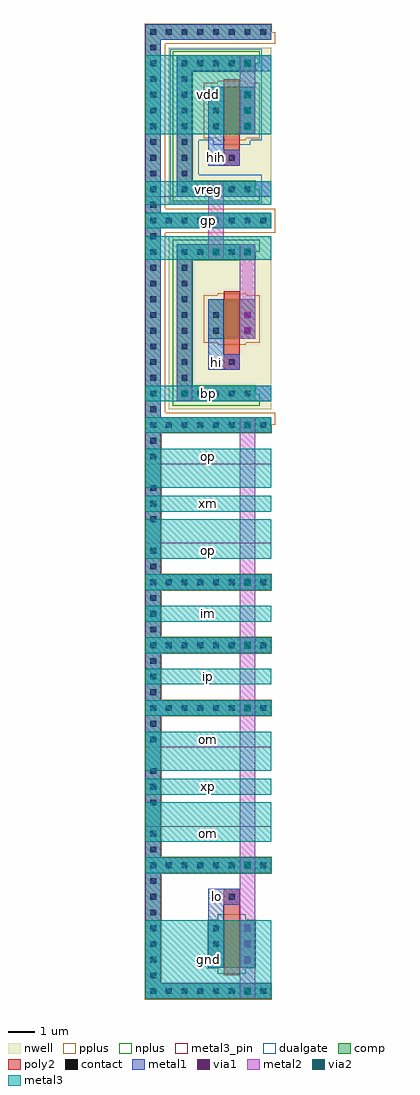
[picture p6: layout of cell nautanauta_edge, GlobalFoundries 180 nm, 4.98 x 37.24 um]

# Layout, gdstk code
import gdstk
lib = gdstk.Library(unit=1e-6, precision=1e-09)
def R(c, l, rs):  # rectangles x0, y0, x1, y1
    for r in rs: c.add(gdstk.rectangle(r[:2], r[2:], *l))
def A(c, l, x, y, w, h, nx, ny, dx, dy):  # array of equal rectangles
    R(c, l, [(x+i*dx, y+j*dy, x+i*dx+w, y+j*dy+h) for i in range(nx) for j in range(ny)])
nwell = (21, 0)
comp = (22, 0)
poly2 = (30, 0)
pplus = (31, 0)
nplus = (32, 0)
contact = (33, 0)
metal1 = (34, 0)
via1 = (35, 0)
metal2 = (36, 0)
via2 = (38, 0)
metal3 = (42, 0)
metal3_pin = (42, 10)
dualgate = (55, 0)

nautanauta_edge = lib.new_cell('nautanauta_edge')
R(nautanauta_edge, nwell, [(-36.9,15.9,-33,22.5), (-36.9,23.7,-33,29.7)])
A(nautanauta_edge, comp, -37.8, 4.2, 4.8, 0.6, 1, 3, 0, 2.4)
R(nautanauta_edge, comp, [(-37.8,-6.6,-33,-6), (-37.8,-6,-37.2,-1.8), (-35.4,-5.4,-33.6,-3.6), (-37.8,-1.8,-33,-1.2), (-37.8,-1.2,-37.2,4.2), (-37.8,4.8,-37.2,6.6), (-37.8,7.2,-37.2,9), (-37.8,9.6,-37.2,15), (-37.8,15,-33,15.6), (-37.8,15.6,-37.2,22.8), (-36.6,16.2,-33.6,16.8), (-36.6,16.8,-36,21.6), (-35.4,18.6,-33.6,20.1), (-36.6,21.6,-33.6,22.2), (-37.8,22.8,-33,23.4), (-37.8,23.4,-37.2,30), (-36.6,24,-33.6,24.6), (-36.6,24.6,-36,28.8), (-35.4,26.4,-33.6,28.2), (-36.6,28.8,-33.6,29.4), (-37.8,30,-33,30.6)])
R(nautanauta_edge, poly2, [(-34.8,-5.7,-34.2,-2.4), (-34.8,17.4,-34.2,20.4), (-34.8,25.2,-34.2,28.5)])
A(nautanauta_edge, pplus, -37.82, 4.18, 4.84, 0.64, 1, 3, 0, 2.4)
R(nautanauta_edge, pplus, [(-37.82,-6.62,-32.98,-5.98), (-37.82,-5.98,-37.18,-1.82), (-37.82,-1.82,-32.98,-1.18), (-37.82,-1.18,-37.18,4.18), (-37.82,4.82,-37.18,6.58), (-37.82,7.22,-37.18,8.98), (-37.82,9.62,-37.18,14.98), (-37.82,14.98,-32.98,15.31), (-37.82,15.31,-32.84,15.76), (-37.82,15.76,-37.04,22.64), (-35.03,18.37,-33.97,18.44), (-35.56,18.44,-33.44,20.26), (-35.03,20.26,-33.97,20.33), (-37.82,22.64,-32.84,23.56), (-37.82,23.56,-37.04,29.84), (-35.03,26.17,-33.97,26.24), (-35.56,26.24,-33.44,28.36), (-35.03,28.36,-33.97,28.43), (-37.82,29.84,-32.84,30.29), (-37.82,30.29,-32.98,30.62)])
R(nautanauta_edge, nplus, [(-35.03,-5.63,-33.97,-5.42), (-35.42,-5.42,-33.58,-3.58), (-35.03,-3.58,-33.97,-3.37), (-36.76,16.04,-33.44,16.49), (-36.76,16.49,-33.58,16.82), (-36.76,16.82,-35.98,21.58), (-36.76,21.58,-33.58,21.91), (-36.76,21.91,-33.44,22.36), (-36.76,23.84,-33.44,24.29), (-36.76,24.29,-33.58,24.62), (-36.76,24.62,-35.98,28.78), (-36.76,28.78,-33.58,29.11), (-36.76,29.11,-33.44,29.56)])
A(nautanauta_edge, contact, -37.61, -6.41, 0.22, 0.22, 8, 2, 0.6, 4.8)
A(nautanauta_edge, contact, -37.61, -5.81, 0.22, 0.22, 1, 7, 0, 0.6)
A(nautanauta_edge, contact, -35.21, -5.21, 0.22, 0.22, 1, 3, 0, 0.6)
A(nautanauta_edge, contact, -34.01, -5.21, 0.22, 0.22, 1, 3, 0, 0.6)
A(nautanauta_edge, contact, -37.61, 0.79, 0.22, 0.22, 1, 3, 0, 0.6)
A(nautanauta_edge, contact, -37.61, 4.39, 0.22, 0.22, 8, 3, 0.6, 2.4)
A(nautanauta_edge, contact, -37.61, 4.99, 0.22, 0.22, 1, 3, 0, 0.6)
A(nautanauta_edge, contact, -37.61, 7.39, 0.22, 0.22, 1, 3, 0, 0.6)
A(nautanauta_edge, contact, -37.61, 11.59, 0.22, 0.22, 1, 3, 0, 0.6)
A(nautanauta_edge, contact, -37.61, 15.19, 0.22, 0.22, 8, 2, 0.6, 7.8)
A(nautanauta_edge, contact, -37.61, 15.79, 0.22, 0.22, 1, 5, 0, 0.6)
A(nautanauta_edge, contact, -36.41, 16.39, 0.22, 0.22, 5, 2, 0.6, 5.4)
A(nautanauta_edge, contact, -36.41, 16.99, 0.22, 0.22, 1, 3, 0, 0.6)
A(nautanauta_edge, contact, -37.61, 18.79, 0.22, 0.22, 4, 2, 1.2, 0.6)
A(nautanauta_edge, contact, -37.61, 19.99, 0.22, 0.22, 1, 5, 0, 0.6)
A(nautanauta_edge, contact, -36.41, 19.99, 0.22, 0.22, 1, 3, 0, 0.6)
A(nautanauta_edge, contact, -37.61, 23.59, 0.22, 0.22, 1, 5, 0, 0.6)
A(nautanauta_edge, contact, -36.41, 24.19, 0.22, 0.22, 5, 2, 0.6, 4.8)
A(nautanauta_edge, contact, -36.41, 24.79, 0.22, 0.22, 1, 3, 0, 0.6)
A(nautanauta_edge, contact, -37.61, 26.59, 0.22, 0.22, 4, 3, 1.2, 0.6)
A(nautanauta_edge, contact, -37.61, 28.39, 0.22, 0.22, 1, 3, 0, 0.6)
A(nautanauta_edge, contact, -37.61, 30.19, 0.22, 0.22, 8, 1, 0.6, 0)
R(nautanauta_edge, contact, [(-34.61,-2.81,-34.39,-2.59), (-37.61,-1.01,-37.39,-0.79), (-37.61,-0.41,-37.39,-0.19), (-37.61,3.19,-37.39,3.41), (-37.61,3.79,-37.39,4.01), (-37.61,9.79,-37.39,10.01), (-37.61,10.39,-37.39,10.61), (-37.61,13.99,-37.39,14.21), (-37.61,14.59,-37.39,14.81), (-34.61,17.59,-34.39,17.81), (-34.61,25.39,-34.39,25.61), (-36.41,28.39,-36.19,28.61)])
A(nautanauta_edge, metal1, -37.8, 4.2, 4.8, 0.6, 1, 3, 0, 2.4)
R(nautanauta_edge, metal1, [(-37.8,-6.6,-33,-6), (-37.8,-6,-37.2,-1.8), (-35.4,-5.4,-34.8,-3), (-34.2,-5.4,-33.6,-3.6), (-35.4,-3,-34.2,-2.4), (-37.8,-1.8,-33,-1.2), (-37.8,-1.2,-37.2,4.2), (-37.8,4.8,-37.2,6.6), (-37.8,7.2,-37.2,9), (-37.8,9.6,-37.2,15), (-37.8,15,-33,15.6), (-37.8,15.6,-37.2,22.8), (-36.6,16.2,-33,16.8), (-36.6,16.8,-36,21.6), (-35.4,17.4,-34.2,18), (-35.4,18,-34.8,20.1), (-34.2,18.6,-33.6,20.1), (-36.6,21.6,-33.6,22.2), (-37.8,22.8,-33,23.4), (-37.8,23.4,-37.2,30), (-36.6,24,-33,24.6), (-36.6,24.6,-36,28.8), (-35.4,25.2,-34.2,25.8), (-35.4,25.8,-34.8,28.2), (-34.2,26.4,-33.6,28.2), (-36.6,28.8,-33,29.4), (-37.8,30,-33,30.6)])
A(nautanauta_edge, via1, -34.03, -5.23, 0.26, 0.26, 1, 3, 0, 0.6)
A(nautanauta_edge, via1, -34.03, 4.37, 0.26, 0.26, 1, 3, 0, 2.4)
A(nautanauta_edge, via1, -34.03, 26.57, 0.26, 0.26, 1, 3, 0, 0.6)
R(nautanauta_edge, via1, [(-34.03,-6.43,-33.77,-6.17), (-34.03,-1.63,-33.77,-1.37), (-34.03,15.17,-33.77,15.43), (-36.43,16.37,-36.17,16.63), (-34.03,18.77,-33.77,19.03), (-34.03,19.37,-33.77,19.63), (-34.03,28.97,-33.77,29.23)])
R(nautanauta_edge, metal2, [(-34.2,-6.6,-33.6,15.6), (-36.6,16.2,-36,16.8), (-34.2,18.6,-33.6,22.2), (-35.4,21.6,-34.8,24.6), (-34.2,26.4,-33.6,29.4)])
A(nautanauta_edge, via2, -34.03, 4.37, 0.26, 0.26, 1, 3, 0, 2.4)
A(nautanauta_edge, via2, -34.03, 26.57, 0.26, 0.26, 1, 3, 0, 0.6)
R(nautanauta_edge, via2, [(-34.03,-6.43,-33.77,-6.17), (-34.03,-1.63,-33.77,-1.37), (-34.03,15.17,-33.77,15.43), (-36.43,16.37,-36.17,16.63), (-35.23,21.77,-34.97,22.03), (-34.03,21.77,-33.77,22.03), (-35.23,24.17,-34.97,24.43), (-34.03,28.97,-33.77,29.23)])
A(nautanauta_edge, metal3, -37.8, -1.8, 4.8, 0.6, 1, 3, 0, 3)
A(nautanauta_edge, metal3, -37.8, 5.4, 4.8, 0.6, 1, 4, 0, 1.2)
R(nautanauta_edge, metal3, [(-37.8,-6.6,-33,-3.6), (-37.8,-0.6,-33,0.9), (-37.8,2.1,-33,3.6), (-37.8,10.2,-33,11.7), (-37.8,12,-33,12.6), (-37.8,12.9,-33,14.4), (-37.8,15,-33,15.6), (-37.8,16.2,-33,16.8), (-37.8,21.6,-33,22.5), (-37.8,22.8,-33,23.4), (-37.8,23.7,-33,24.6), (-37.8,26.4,-33,29.4)])
A(nautanauta_edge, metal3_pin, -37.8, -0.6, 4.8, 0.6, 1, 3, 0, 1.8)
A(nautanauta_edge, metal3_pin, -37.8, 5.4, 4.8, 0.6, 1, 3, 0, 2.4)
R(nautanauta_edge, metal3_pin, [(-37.8,-6.6,-33,-3.6), (-37.8,12,-33,12.6), (-37.8,13.8,-33,14.4), (-37.8,16.2,-33,16.8), (-37.8,22.8,-33,23.4), (-37.8,24,-33,24.6), (-37.8,26.4,-33,29.4)])
R(nautanauta_edge, dualgate, [(-36.84,23.76,-33.36,24.84), (-36.84,24.84,-35.76,26.16), (-35.2,26,-33.8,26.16), (-36.84,26.16,-33.36,29.64)])
nautanauta_edge.add(gdstk.Label('lo', (-35.1,-2.7), layer=34, texttype=0))
nautanauta_edge.add(gdstk.Label('hi', (-35.1,17.7), layer=34, texttype=0))
nautanauta_edge.add(gdstk.Label('hih', (-35.1,25.5), layer=34, texttype=0))
nautanauta_edge.add(gdstk.Label('vdd', (-35.4,27.9), layer=42, texttype=10))
nautanauta_edge.add(gdstk.Label('gp', (-35.4,23.1), layer=42, texttype=10))
nautanauta_edge.add(gdstk.Label('bp', (-35.4,16.5), layer=42, texttype=10))
nautanauta_edge.add(gdstk.Label('vreg', (-35.4,24.3), layer=42, texttype=10))
nautanauta_edge.add(gdstk.Label('im', (-35.4,8.1), layer=42, texttype=10))
nautanauta_edge.add(gdstk.Label('ip', (-35.4,5.7), layer=42, texttype=10))
nautanauta_edge.add(gdstk.Label('gnd', (-35.4,-5.1), layer=42, texttype=10))
nautanauta_edge.add(gdstk.Label('xm', (-35.4,12.3), layer=42, texttype=10))
nautanauta_edge.add(gdstk.Label('op', (-35.4,14.1), layer=42, texttype=10))
nautanauta_edge.add(gdstk.Label('op', (-35.4,10.5), layer=42, texttype=10))
nautanauta_edge.add(gdstk.Label('xp', (-35.4,1.5), layer=42, texttype=10))
nautanauta_edge.add(gdstk.Label('om', (-35.4,-0.3), layer=42, texttype=10))
nautanauta_edge.add(gdstk.Label('om', (-35.4,3.3), layer=42, texttype=10))

lib.write_gds('nautanauta_edge.gds')
